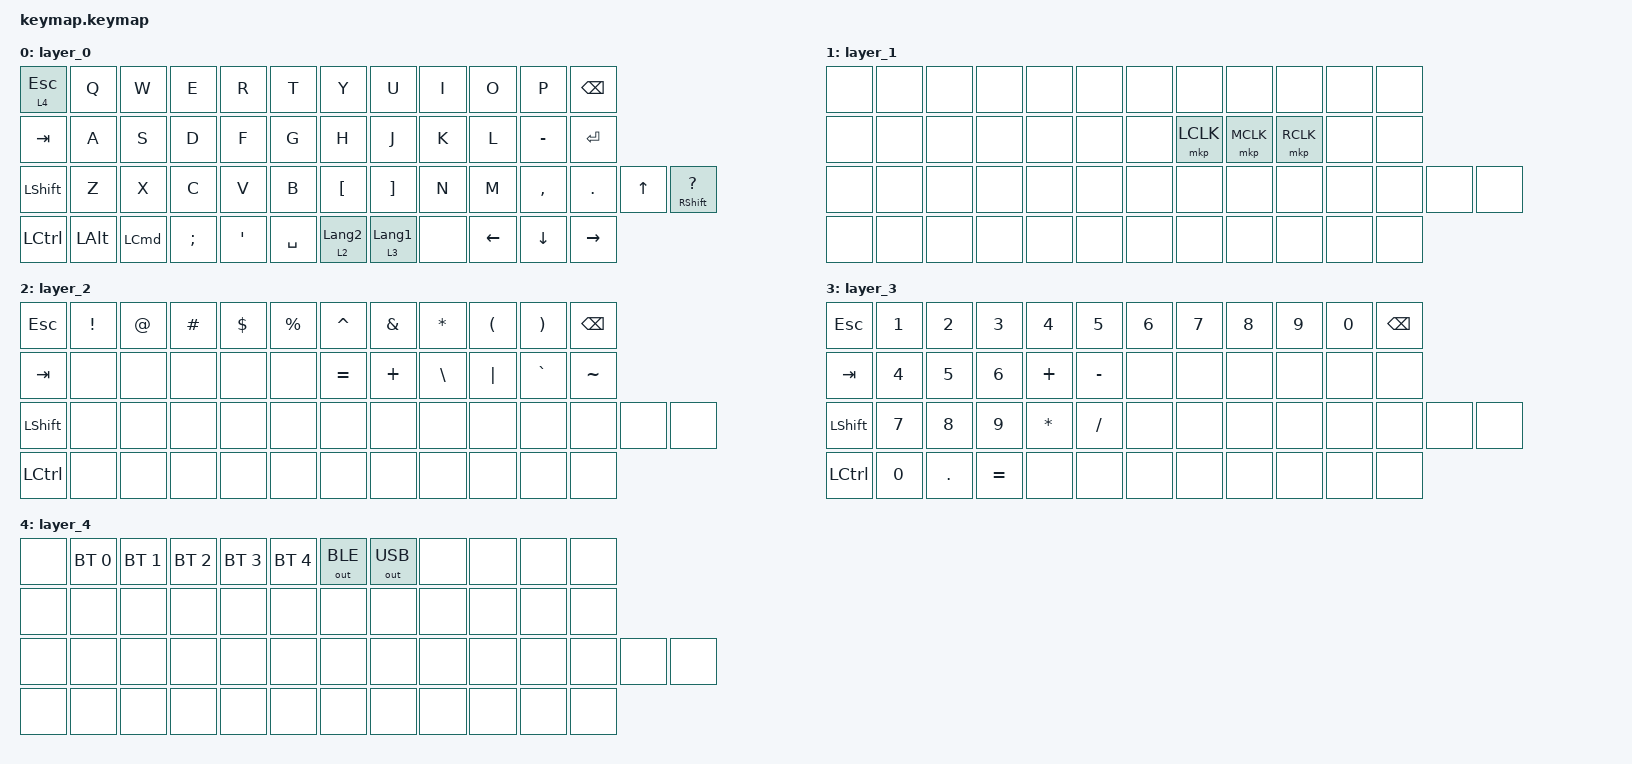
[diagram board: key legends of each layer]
#include <behaviors.dtsi>
#include <dt-bindings/zmk/bt.h>
#include <dt-bindings/zmk/keys.h>
#include <dt-bindings/zmk/outputs.h>
#include <dt-bindings/zmk/pointing.h>

/ {
    combos {
        compatible = "zmk,combos";

        bt_clear {
            bindings = <&bt BT_CLR>;
            key-positions = <28 29>;
            layers = <2>;
        };
    };

    keymap {
        compatible = "zmk,keymap";

        layer_0 {
            bindings = <
&lt 4 ESCAPE      &kp Q         &kp W             &kp E     &kp R     &kp T      &kp Y             &kp U             &kp I  &kp O           &kp P           &kp BSPC
&kp TAB           &kp A         &kp S             &kp D     &kp F     &kp G      &kp H             &kp J             &kp K  &kp L           &kp MINUS       &kp ENTER
&kp LSHFT         &kp Z         &kp X             &kp C     &kp V     &kp B      &kp LBKT          &kp RBKT          &kp N  &kp M           &kp COMMA       &kp DOT          &kp UP_ARROW  &mt RSHFT QUESTION
&kp LEFT_CONTROL  &kp LEFT_ALT  &kp LEFT_COMMAND  &kp SEMI  &kp APOS  &kp SPACE  &lt 2 LANGUAGE_2  &lt 3 LANGUAGE_1  &none  &kp LEFT_ARROW  &kp DOWN_ARROW  &kp RIGHT_ARROW
            >;
        };

        layer_1 {
            bindings = <
&none  &none  &none  &none  &none  &none  &none  &none      &none      &none      &none  &none
&none  &none  &none  &none  &none  &none  &none  &mkp LCLK  &mkp MCLK  &mkp RCLK  &none  &none
&none  &none  &none  &none  &none  &none  &none  &none      &none      &none      &none  &none  &none  &none
&none  &none  &none  &none  &none  &none  &none  &none      &none      &none      &none  &none
            >;
        };

        layer_2 {
            bindings = <
&kp ESCAPE        &kp EXCLAMATION  &kp AT_SIGN  &kp HASH  &kp DOLLAR  &kp PERCENT  &kp CARET  &kp AMPERSAND  &kp ASTERISK   &kp LEFT_PARENTHESIS  &kp RIGHT_PARENTHESIS  &kp BACKSPACE
&kp TAB           &none            &none        &none     &none       &none        &kp EQUAL  &kp PLUS       &kp BACKSLASH  &kp PIPE              &kp GRAVE              &kp TILDE
&kp LEFT_SHIFT    &none            &none        &none     &none       &none        &none      &none          &none          &none                 &none                  &none          &none  &none
&kp LEFT_CONTROL  &none            &none        &none     &none       &none        &none      &none          &none          &none                 &none                  &none
            >;
        };

        layer_3 {
            bindings = <
&kp ESCAPE        &kp N1  &kp N2   &kp N3     &kp N4        &kp N5     &kp N6  &kp N7  &kp N8  &kp N9  &kp N0  &kp BACKSPACE
&kp TAB           &kp N4  &kp N5   &kp N6     &kp PLUS      &kp MINUS  &none   &none   &none   &none   &none   &none
&kp LEFT_SHIFT    &kp N7  &kp N8   &kp N9     &kp ASTERISK  &kp SLASH  &none   &none   &none   &none   &none   &none          &none  &none
&kp LEFT_CONTROL  &kp N0  &kp DOT  &kp EQUAL  &none         &none      &none   &none   &none   &none   &none   &none
            >;
        };

        layer_4 {
            bindings = <
&none  &bt BT_SEL 0  &bt BT_SEL 1  &bt BT_SEL 2  &bt BT_SEL 3  &bt BT_SEL 4  &out OUT_BLE  &out OUT_USB  &none  &none  &none  &none
&none  &none         &none         &none         &none         &none         &none         &none         &none  &none  &none  &none
&none  &none         &none         &none         &none         &none         &none         &none         &none  &none  &none  &none  &none  &none
&none  &none         &none         &none         &none         &none         &none         &none         &none  &none  &none  &none
            >;
        };
    };
};
